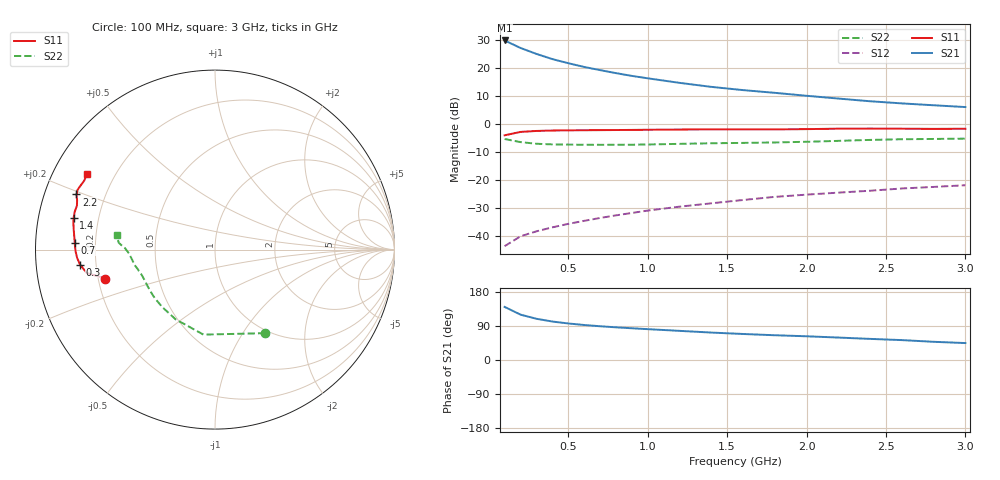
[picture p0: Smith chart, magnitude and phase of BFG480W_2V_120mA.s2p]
! Filename: 2120BFG480.001
! Title: BFG480W
! Bias: Vce=2V; Ic=120mA
! Company: Philips Semiconductors NL
! User: Quality&Reliability T&D
! Measure time: 10 Nov 1999 / 11:55:25
#  MHz  S  MA  R 50
! Freq  S11  S21  S12  S22  :
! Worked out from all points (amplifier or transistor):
!   20 points, 100 MHz to 3 GHz, reference 50 ohm
!   highest |S21| = 30.0 dB at 100 MHz (marker M1)
!   |S21| within 3 dB of that: start of sweep to 214.7 MHz
!   unconditionally stable (mu >= 1): start of sweep to 103.1 MHz; 363.6 MHz to end of sweep
!   at 400 MHz: K = 1.02, MAG = 29.2 dB, |S12| = -37.0 dB
!   at 1.2 GHz: K = 1.17, MAG = 19.7 dB, |S12| = -29.5 dB
!   at 3 GHz: K = 1.16, MAG = 11.6 dB, |S12| = -21.9 dB
!   S11 on the Smith chart (normalised r, x): 100 MHz: 0.23, -0.12; 300 MHz: 0.14, -0.05; 700 MHz: 0.12, +0.02; 1.4 GHz: 0.11, +0.11; 2.2 GHz: 0.10, +0.19; 3 GHz: 0.10, +0.27
100  0.6321 -165.2  31.57 140.1  0.006541 64.6  0.5431 -59.0
200  0.7265 -169.7  23.17 119.8  0.009819 58.0  0.4779 -97.7
300  0.7567 -173.7  18.13 108.8  0.01205 58.5  0.4461 -119.5
400  0.7697 -176.6  14.65 101.5  0.0142 61.4  0.4346 -132.4
500  0.776 -179.0  12.38 96.4  0.01639 63.9  0.431 -141.1
600  0.7799 179.0  10.6 92.4  0.01857 66.0  0.4285 -147.1
700  0.7823 177.2  9.302 89.1  0.02091 67.7  0.4273 -151.7
800  0.7857 175.4  8.214 86.2  0.02328 69.3  0.4274 -155.4
900  0.7897 173.8  7.326 83.8  0.0257 70.9  0.4291 -158.6
1000  0.7942 172.2  6.634 81.4  0.02835 71.7  0.4331 -161.4
1200  0.8023 169.5  5.5 76.9  0.03335 73.0  0.4442 -165.8
1400  0.8074 167.3  4.66 72.4  0.03827 73.5  0.4555 -169.1
1600  0.8095 164.9  4.078 68.7  0.04389 74.0  0.4622 -171.9
1800  0.8073 162.4  3.643 65.3  0.04993 74.1  0.4708 -174.9
2000  0.8157 160.3  3.227 62.6  0.05476 74.4  0.4844 -178.3
2200  0.8307 158.3  2.877 59.2  0.05944 74.3  0.5026 178.9
2400  0.835 156.5  2.574 55.7  0.06433 73.6  0.5228 177.2
2600  0.8297 154.6  2.356 52.5  0.07059 72.7  0.5374 176.0
2800  0.8238 152.2  2.181 48.0  0.07522 71.2  0.544 174.2
3000  0.828 149.5  2.025 44.7  0.08062 70.3  0.5515 171.6
